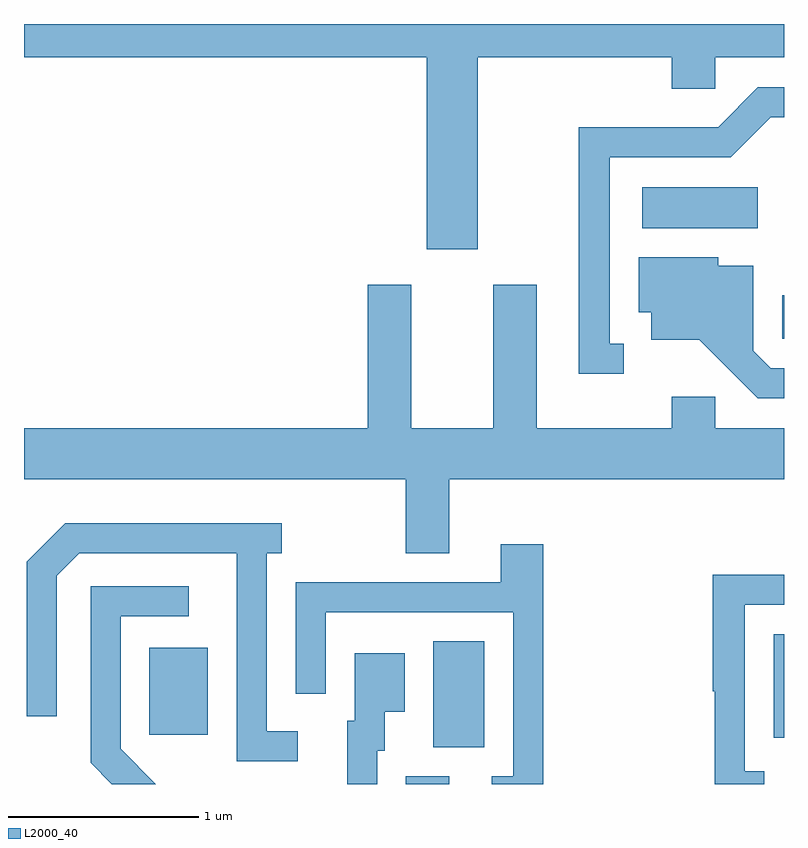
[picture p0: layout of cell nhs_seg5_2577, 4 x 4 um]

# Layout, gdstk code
import gdstk
lib = gdstk.Library(unit=1e-6, precision=1e-09)
def R(c, l, rs):  # rectangles x0, y0, x1, y1
    for r in rs: c.add(gdstk.rectangle(r[:2], r[2:], *l))
def P(c, l, *ps):  # polygons
    for p in ps: c.add(gdstk.Polygon(p, *l))
L2000_40 = (2000, 40)

nhs_seg5_2577 = lib.new_cell('nhs_seg5_2577')
R(nhs_seg5_2577, L2000_40, [(263.621,1464.072,263.849,1464.114), (263.766,1464.266,264.034,1464.824), (265.556,1464.316,265.611,1464.859), (262.271,1464.331,262.579,1464.789), (265.601,1466.416,265.611,1466.644), (264.866,1466.996,265.474,1467.214)])
P(nhs_seg5_2577, L2000_40, [(263.999,1467.896),(265.021,1467.896),(265.021,1467.731),(265.249,1467.731),(265.249,1467.896),(265.611,1467.896),(265.611,1468.072),(261.611,1468.072),(261.611,1467.896),(263.731,1467.896),(263.731,1466.886),(263.999,1466.886)],
  [(264.768,1466.389),(264.694,1466.389),(264.694,1467.371),(265.332,1467.371),(265.542,1467.581),(265.611,1467.581),(265.611,1467.739),(265.474,1467.739),(265.264,1467.529),(264.531,1467.529),(264.531,1466.231),(264.768,1466.231)],
  [(265.611,1466.259),(265.542,1466.259),(265.449,1466.352),(265.449,1466.799),(265.264,1466.799),(265.264,1466.844),(264.846,1466.844),(264.846,1466.556),(264.911,1466.556),(264.911,1466.411),(265.164,1466.411),(265.474,1466.101),(265.611,1466.101)],
  [(263.849,1465.676),(265.611,1465.676),(265.611,1465.944),(265.249,1465.944),(265.249,1466.109),(265.021,1466.109),(265.021,1465.944),(264.309,1465.944),(264.309,1466.699),(264.081,1466.699),(264.081,1465.944),(263.649,1465.944),(263.649,1466.699),(263.421,1466.699),(263.421,1465.944),(261.611,1465.944),(261.611,1465.676),(263.621,1465.676),(263.621,1465.286),(263.849,1465.286)],
  [(263.053,1464.349),(262.889,1464.349),(262.889,1465.286),(262.968,1465.286),(262.968,1465.444),(261.829,1465.444),(261.626,1465.242),(261.626,1464.428),(261.784,1464.428),(261.784,1465.169),(261.902,1465.286),(262.731,1465.286),(262.731,1464.191),(263.053,1464.191)],
  [(264.344,1465.334),(264.121,1465.334),(264.121,1465.134),(263.041,1465.134),(263.041,1464.548),(263.199,1464.548),(263.199,1464.976),(264.186,1464.976),(264.186,1464.114),(264.073,1464.114),(264.073,1464.072),(264.344,1464.072)],
  [(265.508,1464.139),(265.404,1464.139),(265.404,1465.016),(265.611,1465.016),(265.611,1465.174),(265.236,1465.174),(265.236,1464.56),(265.246,1464.56),(265.246,1464.072),(265.508,1464.072)],
  [(262.119,1464.257),(262.119,1464.956),(262.478,1464.956),(262.478,1465.114),(261.961,1465.114),(261.961,1464.184),(262.073,1464.072),(262.304,1464.072)],
  [(263.469,1464.246),(263.509,1464.246),(263.509,1464.451),(263.614,1464.451),(263.614,1464.759),(263.351,1464.759),(263.351,1464.404),(263.311,1464.404),(263.311,1464.072),(263.469,1464.072)])

lib.write_gds('nhs_seg5_2577.gds')
